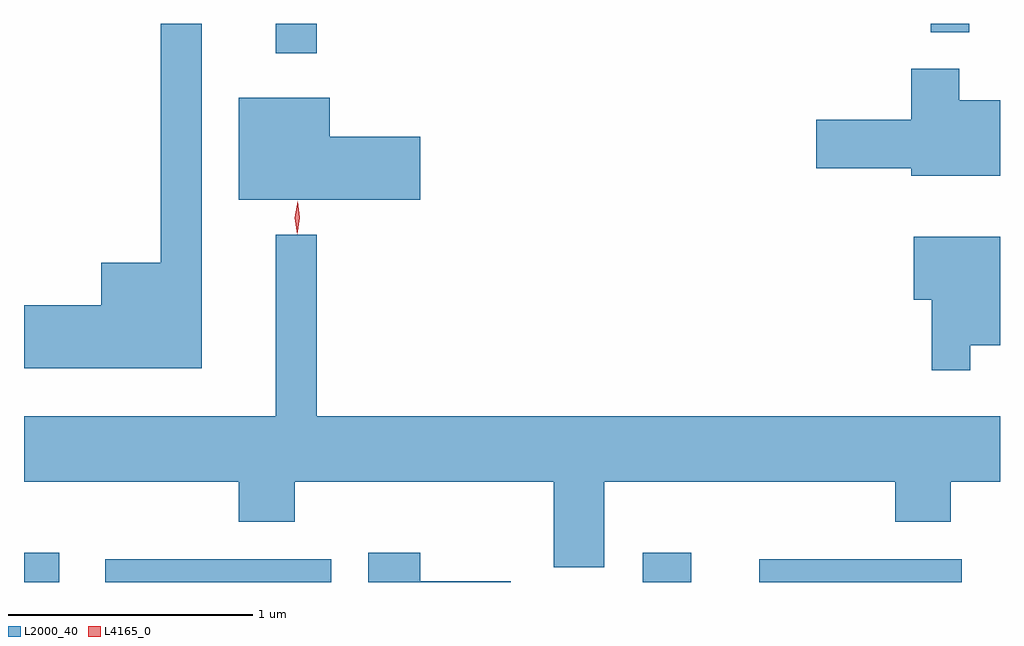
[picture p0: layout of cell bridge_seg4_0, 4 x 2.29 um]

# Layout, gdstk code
import gdstk
lib = gdstk.Library(unit=1e-6, precision=1e-09)
def R(c, l, rs):  # rectangles x0, y0, x1, y1
    for r in rs: c.add(gdstk.rectangle(r[:2], r[2:], *l))
def P(c, l, *ps):  # polygons
    for p in ps: c.add(gdstk.Polygon(p, *l))
L2000_40 = (2000, 40)
L4165_0 = (4165, 0)

bridge_seg4_0 = lib.new_cell('bridge_seg4_0')
R(bridge_seg4_0, L2000_40, [(1169.58,1389.785,1169.724,1389.904), (1169.913,1389.785,1170.839,1389.879), (1172.116,1389.785,1172.314,1389.904), (1172.593,1389.785,1173.424,1389.879), (1170.611,1391.953,1170.779,1392.072), (1173.296,1392.038,1173.454,1392.072)])
P(bridge_seg4_0, L2000_40, [(1170.309,1392.072),(1170.141,1392.072),(1170.141,1391.094),(1169.896,1391.094),(1169.896,1390.919),(1169.58,1390.919),(1169.58,1390.661),(1170.309,1390.661)],
  [(1173.58,1391.759),(1173.414,1391.759),(1173.414,1391.889),(1173.216,1391.889),(1173.216,1391.679),(1172.826,1391.679),(1172.826,1391.481),(1173.216,1391.481),(1173.216,1391.451),(1173.58,1391.451)],
  [(1171.204,1391.609),(1170.834,1391.609),(1170.834,1391.769),(1170.461,1391.769),(1170.461,1391.351),(1171.204,1391.351)],
  [(1173.459,1390.756),(1173.58,1390.756),(1173.58,1391.199),(1173.226,1391.199),(1173.226,1390.941),(1173.301,1390.941),(1173.301,1390.653),(1173.459,1390.653)],
  [(1170.611,1391.208),(1170.611,1390.464),(1169.58,1390.464),(1169.58,1390.196),(1170.461,1390.196),(1170.461,1390.031),(1170.689,1390.031),(1170.689,1390.196),(1171.751,1390.196),(1171.751,1389.846),(1171.959,1389.846),(1171.959,1390.196),(1173.151,1390.196),(1173.151,1390.031),(1173.379,1390.031),(1173.379,1390.196),(1173.58,1390.196),(1173.58,1390.464),(1170.779,1390.464),(1170.779,1391.208)],
  [(1171.574,1389.789),(1171.204,1389.789),(1171.204,1389.904),(1170.991,1389.904),(1170.991,1389.785),(1171.574,1389.785)])
P(bridge_seg4_0, L4165_0, [(1170.699,1391.21),(1170.69,1391.278),(1170.701,1391.346),(1170.701,1391.346),(1170.702,1391.346),(1170.71,1391.278),(1170.7,1391.21),(1170.7,1391.21)],
  [(1170.7,1391.213),(1170.699,1391.214),(1170.691,1391.276),(1170.701,1391.339),(1170.702,1391.34),(1170.702,1391.339),(1170.71,1391.276),(1170.7,1391.214)])

lib.write_gds('bridge_seg4_0.gds')
